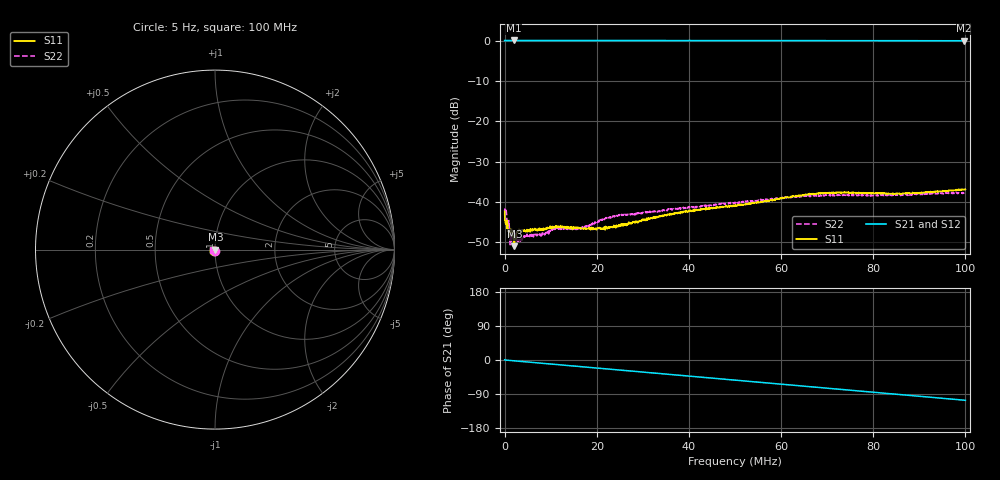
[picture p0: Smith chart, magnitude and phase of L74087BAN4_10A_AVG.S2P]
!Agilent Technologies,E5061B,MY49102235,A.02.00
!Date: Tue Jul 11 16:10:36 2023
!Data & Calibration Information:
!Freq	S11:SOLT2(ON)	S21:SOLT2(ON)	S12:SOLT2(ON)	S22:SOLT2(ON)
# Hz S RI R 50
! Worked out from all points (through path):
!   1600 points, 5 Hz to 100 MHz, reference 50 ohm
!   highest |S21| = 0.02 dB at 2.001 MHz (marker M1); lowest = -0.1 dB at 99.75 MHz (marker M2)
!   group delay of S21, straight-line fit = 2.96 ns
!   lowest |S11| = -51.0 dB at 2.126 MHz (marker M3), VSWR 1.01, Z = 50.3 - j0.0829 ohm
!   |S11| at or under -10 dB: start of sweep to end of sweep
!   |S22| runs from -50.6 to -37.6 dB; largest |S21 - S12| = 0.0025
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5  -0.00515 -0.00564  1.002 0.00807  1 0.0102  -0.00148 -0.00755
625395.8  0.0051 1.51e-06  1.002 -0.011  1.002 -0.0105  0.00613 -0.000386
1000630  0.00376 0.00023  1.001 -0.0174  1.001 -0.017  0.00512 -0.000691
1500943  0.00436 -0.001  1.001 -0.0264  1.001 -0.0264  0.00303 -0.00216
2001256  0.00307 -0.000813  1.002 -0.037  1.001 -0.0366  0.00321 -0.000515
2126334  0.00271 -0.000825  1.001 -0.0393  1 -0.0388  0.00388 -0.000244
2439029  0.00385 -0.000583  0.9996 -0.0454  0.9993 -0.045  0.00369 -0.000111
2939342  0.00432 -0.000648  0.9994 -0.0541  0.9989 -0.0542  0.00326 -0.000286
3502194  0.00437 -0.000984  0.9986 -0.0646  0.9986 -0.0644  0.00343 -0.000375
4627897  0.00428 -0.00113  0.9974 -0.0853  0.9971 -0.085  0.00382 -0.000716
8255164  0.00343 -0.00311  0.9894 -0.1523  0.9893 -0.1523  0.00319 -0.00264
1.11945e7  0.0024 -0.00412  0.9796 -0.206  0.9795 -0.2057  0.00138 -0.00456
1.669794e7  0.0011 -0.00457  0.953 -0.3045  0.953 -0.3043  0.000652 -0.00465
2.320201e7  0.00102 -0.00473  0.9095 -0.417  0.9095 -0.417  0.00283 -0.00593
3.333334e7  -0.000734 -0.00658  0.8152 -0.5794  0.8152 -0.5791  0.000159 -0.00762
3.914947e7  -0.00147 -0.00739  0.7479 -0.6635  0.7478 -0.6635  -0.0015 -0.00832
5.003127e7  -0.00334 -0.00833  0.5994 -0.7997  0.5993 -0.7996  -0.00414 -0.00883
6.672921e7  -0.00897 -0.009  0.3261 -0.9431  0.3262 -0.9431  -0.00841 -0.00835
7.235772e7  -0.0101 -0.00844  0.2259 -0.9713  0.226 -0.9714  -0.00952 -0.00763
8.33646e7  -0.0111 -0.00619  0.0239 -0.9959  0.0238 -0.996  -0.0103 -0.00629
9.974984e7  -0.0139 -0.00372  -0.2757 -0.9549  -0.2756 -0.955  -0.0121 -0.00415
1e8  -0.0138 -0.00373  -0.2802 -0.9537  -0.2802 -0.9538  -0.0123 -0.00395
